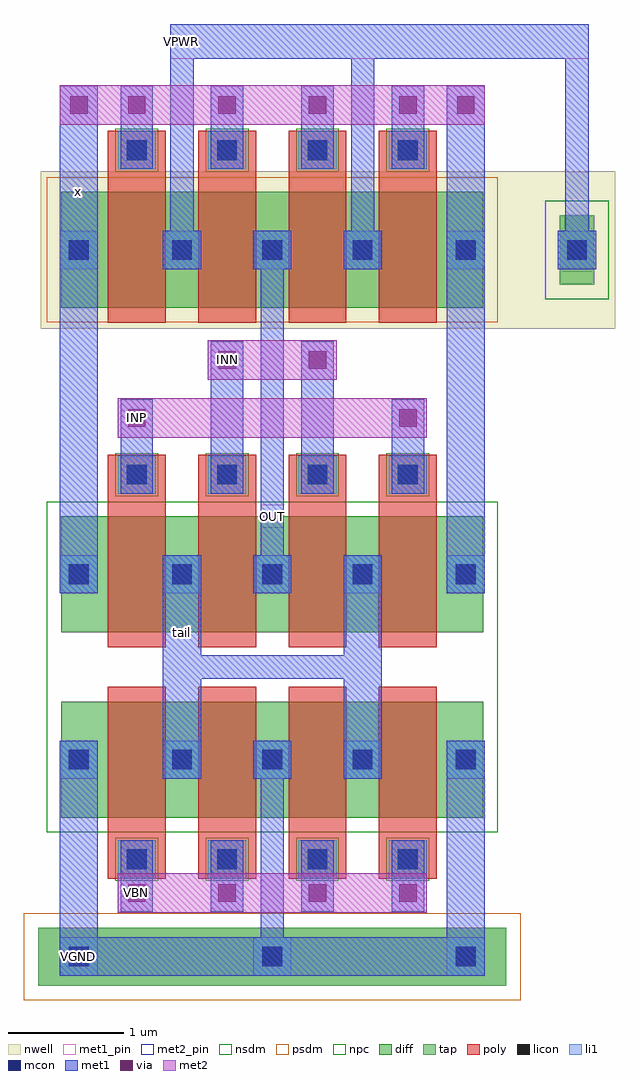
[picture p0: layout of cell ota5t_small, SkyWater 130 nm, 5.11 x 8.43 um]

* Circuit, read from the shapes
.subckt ota5t_small INN INP OUT VBN VGND VPWR tail x
XM1 tail VBN VGND VGND sky130_fd_pr__nfet_01v8 w=1 l=0.5 m=4
XM2 tail INP x VGND sky130_fd_pr__nfet_01v8 w=1 l=0.5 m=2
XM3 OUT INN tail VGND sky130_fd_pr__nfet_01v8 w=1 l=0.5 m=2
XM4 VPWR x x VPWR sky130_fd_pr__pfet_01v8 w=1 l=0.5 m=2
XM5 OUT x VPWR VPWR sky130_fd_pr__pfet_01v8 w=1 l=0.5 m=2
.ends

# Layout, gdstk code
import gdstk
lib = gdstk.Library(unit=1e-6, precision=1e-09)
def R(c, l, rs):  # rectangles x0, y0, x1, y1
    for r in rs: c.add(gdstk.rectangle(r[:2], r[2:], *l))
def A(c, l, x, y, w, h, nx, ny, dx, dy):  # array of equal rectangles
    R(c, l, [(x+i*dx, y+j*dy, x+i*dx+w, y+j*dy+h) for i in range(nx) for j in range(ny)])
nwell = (64, 20)
diff = (65, 20)
tap = (65, 44)
poly = (66, 20)
licon = (66, 44)
li1 = (67, 20)
mcon = (67, 44)
met1_pin = (68, 16)
met1 = (68, 20)
via = (68, 44)
met2_pin = (69, 16)
met2 = (69, 20)
nsdm = (93, 44)
psdm = (94, 20)
npc = (95, 20)

ota5t_small = lib.new_cell('ota5t_small')
R(ota5t_small, nwell, [(0.42,2.62,5.38,3.98)])
R(ota5t_small, diff, [(0.4,-3.05,4.44,-2.55), (0.6,-1.6,4.24,-0.6), (0.6,0,4.24,1), (0.6,2.8,4.24,3.8), (4.9,3,5.2,3.6)])
R(ota5t_small, tap, [(0.4,-3.05,4.44,-2.55), (4.9,3,5.2,3.6)])
A(ota5t_small, poly, 1, -2.13, 0.5, 1.66, 4, 2, 0.78, 2)
A(ota5t_small, poly, 1, 2.67, 0.5, 1.66, 4, 1, 0.78, 0)
A(ota5t_small, licon, 0.665, -2.885, 0.17, 0.17, 3, 1, 1.67, 0)
A(ota5t_small, licon, 1.165, -2.045, 0.17, 0.17, 4, 2, 0.78, 3.32)
A(ota5t_small, licon, 1.555, -1.185, 0.17, 0.17, 3, 2, 0.78, 1.6)
A(ota5t_small, licon, 1.555, 3.215, 0.17, 0.17, 3, 1, 0.78, 0)
A(ota5t_small, licon, 1.165, 4.075, 0.17, 0.17, 4, 1, 0.78, 0)
R(ota5t_small, licon, [(0.665,-1.185,0.835,-1.015), (4.005,-1.185,4.175,-1.015), (0.665,0.415,0.835,0.585), (4.005,0.415,4.175,0.585), (0.665,3.215,0.835,3.385), (4.005,3.215,4.175,3.385), (4.965,3.215,5.135,3.385)])
A(ota5t_small, li1, 0.585, -2.965, 0.33, 0.33, 3, 1, 1.67, 0)
A(ota5t_small, li1, 1.085, -2.125, 0.33, 0.33, 4, 2, 0.78, 3.32)
A(ota5t_small, li1, 1.475, -1.265, 0.33, 0.33, 3, 2, 0.78, 1.6)
A(ota5t_small, li1, 1.475, 3.135, 0.33, 0.33, 3, 1, 0.78, 0)
A(ota5t_small, li1, 1.085, 3.995, 0.33, 0.33, 4, 1, 0.78, 0)
R(ota5t_small, li1, [(0.585,-1.265,0.915,-0.935), (3.925,-1.265,4.255,-0.935), (0.585,0.335,0.915,0.665), (3.925,0.335,4.255,0.665), (0.585,3.135,0.915,3.465), (3.925,3.135,4.255,3.465), (4.885,3.135,5.215,3.465)])
A(ota5t_small, mcon, 0.665, -2.885, 0.17, 0.17, 3, 1, 1.67, 0)
A(ota5t_small, mcon, 1.165, -2.045, 0.17, 0.17, 4, 2, 0.78, 3.32)
A(ota5t_small, mcon, 1.555, -1.185, 0.17, 0.17, 3, 2, 0.78, 1.6)
A(ota5t_small, mcon, 1.555, 3.215, 0.17, 0.17, 3, 1, 0.78, 0)
A(ota5t_small, mcon, 1.165, 4.075, 0.17, 0.17, 4, 1, 0.78, 0)
R(ota5t_small, mcon, [(0.665,-1.185,0.835,-1.015), (4.005,-1.185,4.175,-1.015), (0.665,0.415,0.835,0.585), (4.005,0.415,4.175,0.585), (0.665,3.215,0.835,3.385), (4.005,3.215,4.175,3.385), (4.965,3.215,5.135,3.385)])
R(ota5t_small, met1_pin, [(0.585,-2.965,4.255,-2.635), (2.32,0.9,2.52,1.1), (1.54,4.95,5.15,5.25)])
A(ota5t_small, met1, 1.11, -2.415, 0.28, 0.62, 4, 1, 0.78, 0)
A(ota5t_small, met1, 1.11, 4, 0.28, 0.715, 4, 1, 0.78, 0)
R(ota5t_small, met1, [(0.585,-2.965,0.915,-2.635), (0.585,-2.965,0.915,-2.635), (0.585,-2.965,0.915,-0.935), (0.585,-2.965,4.255,-2.635), (2.255,-2.965,2.585,-2.635), (2.255,-2.965,2.585,-2.635), (3.925,-2.965,4.255,-2.635), (3.925,-2.965,4.255,-2.635), (3.925,-2.965,4.255,-0.935), (2.32,-2.8,2.52,-0.935), (0.585,-1.265,0.915,-0.935), (0.585,-1.265,0.915,-0.935), (1.475,-1.265,1.805,-0.935), (1.475,-1.265,1.805,-0.935), (1.475,-1.265,1.805,0.665), (2.255,-1.265,2.585,-0.935), (2.255,-1.265,2.585,-0.935), (3.035,-1.265,3.365,-0.935), (3.035,-1.265,3.365,-0.935), (3.035,-1.265,3.365,0.665), (3.925,-1.265,4.255,-0.935), (3.925,-1.265,4.255,-0.935), (1.475,-0.4,3.365,-0.2), (0.585,0.335,0.915,0.665), (0.585,0.335,0.915,0.665), (0.585,0.335,0.915,4.715), (1.475,0.335,1.805,0.665), (1.475,0.335,1.805,0.665), (2.255,0.335,2.585,0.665), (2.255,0.335,2.585,0.665), (2.32,0.335,2.52,3.465), (3.035,0.335,3.365,0.665), (3.035,0.335,3.365,0.665), (3.925,0.335,4.255,0.665), (3.925,0.335,4.255,0.665), (3.925,0.335,4.255,4.715), (1.11,1.195,1.39,2.01), (1.89,1.195,2.17,2.51), (2.67,1.195,2.95,2.51), (3.45,1.195,3.73,2.01), (0.585,3.135,0.915,3.465), (0.585,3.135,0.915,3.465), (1.475,3.135,1.805,3.465), (1.475,3.135,1.805,3.465), (1.54,3.135,1.74,5.25), (2.255,3.135,2.585,3.465), (2.255,3.135,2.585,3.465), (3.035,3.135,3.365,3.465), (3.035,3.135,3.365,3.465), (3.1,3.135,3.3,5.25), (3.925,3.135,4.255,3.465), (3.925,3.135,4.255,3.465), (4.885,3.135,5.215,3.465), (4.885,3.135,5.215,3.465), (4.95,3.135,5.15,5.25), (1.54,4.95,5.15,5.25)])
A(ota5t_small, via, 1.175, -2.325, 0.15, 0.15, 4, 2, 0.78, 6.8)
R(ota5t_small, via, [(1.175,1.775,1.325,1.925), (3.515,1.775,3.665,1.925), (1.955,2.275,2.105,2.425), (2.735,2.275,2.885,2.425), (0.675,4.475,0.825,4.625), (4.015,4.475,4.165,4.625)])
R(ota5t_small, met2_pin, [(1.085,-2.42,3.755,-2.08), (1.085,1.68,3.755,2.02), (1.865,2.18,2.975,2.52)])
R(ota5t_small, met2, [(1.085,-2.42,3.755,-2.08), (1.085,1.68,3.755,2.02), (1.865,2.18,2.975,2.52), (0.585,4.38,4.255,4.72)])
R(ota5t_small, nsdm, [(0.475,-1.725,4.365,1.125), (4.775,2.875,5.325,3.725)])
R(ota5t_small, psdm, [(0.275,-3.175,4.565,-2.425), (0.475,2.675,4.365,3.925)])
A(ota5t_small, npc, 1.065, -2.145, 0.37, 0.37, 4, 2, 0.78, 3.32)
A(ota5t_small, npc, 1.065, 3.975, 0.37, 0.37, 4, 1, 0.78, 0)
ota5t_small.add(gdstk.Label('OUT', (2.42,1), layer=68, texttype=5))
ota5t_small.add(gdstk.Label('x', (0.75,3.8), layer=68, texttype=5))
ota5t_small.add(gdstk.Label('tail', (1.64,0), layer=68, texttype=5))
ota5t_small.add(gdstk.Label('VPWR', (1.64,5.1), layer=68, texttype=5))
ota5t_small.add(gdstk.Label('VGND', (0.75,-2.8), layer=68, texttype=5))
ota5t_small.add(gdstk.Label('INP', (1.25,1.85), layer=69, texttype=5))
ota5t_small.add(gdstk.Label('INN', (2.03,2.35), layer=69, texttype=5))
ota5t_small.add(gdstk.Label('VBN', (1.25,-2.25), layer=69, texttype=5))
ota5t_small.add(gdstk.Label('OUT', (2.42,1), layer=68, texttype=16))
ota5t_small.add(gdstk.Label('VPWR', (1.64,5.1), layer=68, texttype=16))
ota5t_small.add(gdstk.Label('VGND', (0.75,-2.8), layer=68, texttype=16))
ota5t_small.add(gdstk.Label('INP', (1.25,1.85), layer=69, texttype=16))
ota5t_small.add(gdstk.Label('INN', (2.03,2.35), layer=69, texttype=16))
ota5t_small.add(gdstk.Label('VBN', (1.25,-2.25), layer=69, texttype=16))

lib.write_gds('ota5t_small.gds')
